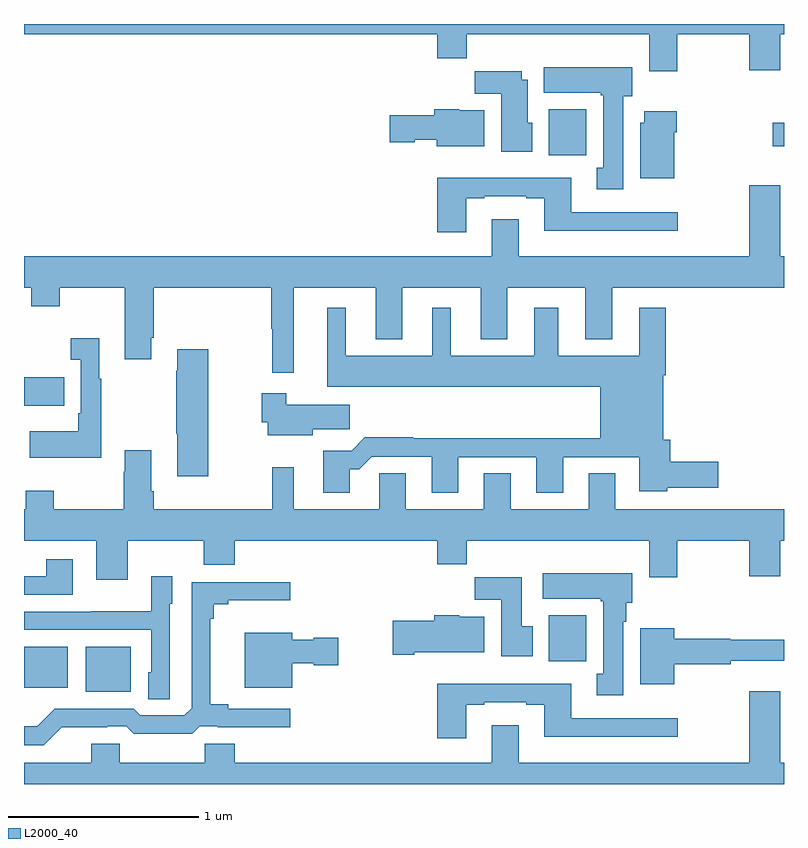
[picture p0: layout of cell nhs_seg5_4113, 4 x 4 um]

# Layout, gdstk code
import gdstk
lib = gdstk.Library(unit=1e-6, precision=1e-09)
def R(c, l, rs):  # rectangles x0, y0, x1, y1
    for r in rs: c.add(gdstk.rectangle(r[:2], r[2:], *l))
def P(c, l, *ps):  # polygons
    for p in ps: c.add(gdstk.Polygon(p, *l))
L2000_40 = (2000, 40)

nhs_seg5_4113 = lib.new_cell('nhs_seg5_4113')
R(nhs_seg5_4113, L2000_40, [(353.324,869.285,353.563,869.521), (353,869.306,353.23,869.521), (355.763,869.444,355.96,869.686), (353,870.791,353.213,870.939), (355.763,872.108,355.96,872.35), (356.94,872.156,357,872.278)])
P(nhs_seg5_4113, L2000_40, [(356.439,872.744),(356.816,872.744),(356.816,872.556),(356.98,872.556),(356.98,872.744),(357,872.744),(357,872.799),(353,872.799),(353,872.744),(355.175,872.744),(355.175,872.62),(355.331,872.62),(355.331,872.744),(356.291,872.744),(356.291,872.55),(356.439,872.55)],
  [(356.155,872.418),(356.2,872.418),(356.2,872.572),(355.736,872.572),(355.736,872.438),(356.035,872.438),(356.035,872.425),(356.048,872.425),(356.048,872.042),(356.015,872.042),(356.015,871.929),(356.155,871.929)],
  [(355.675,872.28),(355.651,872.28),(355.651,872.506),(355.621,872.506),(355.621,872.551),(355.372,872.551),(355.372,872.432),(355.511,872.432),(355.511,872.126),(355.675,872.126)],
  [(355.423,872.344),(355.29,872.344),(355.29,872.35),(355.16,872.35),(355.16,872.319),(354.924,872.319),(354.924,872.177),(355.056,872.177),(355.056,872.189),(355.172,872.189),(355.172,872.156),(355.423,872.156)],
  [(356.422,872.228),(356.435,872.228),(356.435,872.341),(356.264,872.341),(356.264,872.28),(356.243,872.28),(356.243,871.988),(356.422,871.988)],
  [(355.327,871.881),(355.423,871.881),(355.423,871.893),(355.643,871.893),(355.643,871.881),(355.739,871.881),(355.739,871.712),(356.44,871.712),(356.44,871.809),(355.879,871.809),(355.879,871.99),(355.175,871.99),(355.175,871.704),(355.327,871.704)],
  [(354.421,871.412),(354.851,871.412),(354.851,871.139),(354.991,871.139),(354.991,871.412),(355.403,871.412),(355.403,871.139),(355.543,871.139),(355.543,871.412),(355.955,871.412),(355.955,871.139),(356.095,871.139),(356.095,871.412),(357,871.412),(357,871.576),(356.98,871.576),(356.98,871.951),(356.816,871.951),(356.816,871.576),(355.603,871.576),(355.603,871.771),(355.463,871.771),(355.463,871.576),(353,871.576),(353,871.412),(353.039,871.412),(353.039,871.313),(353.187,871.313),(353.187,871.412),(353.531,871.412),(353.531,871.035),(353.671,871.035),(353.671,871.147),(353.684,871.147),(353.684,871.412),(354.3,871.412),(354.3,871.196),(354.307,871.196),(354.307,870.963),(354.421,870.963)],
  [(354.715,870.455),(354.764,870.455),(354.831,870.522),(355.145,870.522),(355.145,870.333),(355.285,870.333),(355.285,870.519),(355.697,870.519),(355.697,870.333),(355.837,870.333),(355.837,870.519),(356.237,870.519),(356.237,870.341),(356.385,870.341),(356.385,870.359),(356.653,870.359),(356.653,870.494),(356.402,870.494),(356.402,870.612),(356.365,870.612),(356.365,870.95),(356.378,870.95),(356.378,871.306),(356.237,871.306),(356.237,871.054),(355.813,871.054),(355.813,871.306),(355.685,871.306),(355.685,871.054),(355.246,871.054),(355.246,871.306),(355.148,871.306),(355.148,871.054),(354.694,871.054),(354.694,871.306),(354.596,871.306),(354.596,870.89),(356.033,870.89),(356.033,870.62),(355.049,870.62),(355.049,870.623),(354.794,870.623),(354.724,870.553),(354.575,870.553),(354.575,870.333),(354.715,870.333)],
  [(353.407,870.931),(353.395,870.931),(353.395,871.144),(353.247,871.144),(353.247,871.031),(353.298,871.031),(353.298,870.751),(353.286,870.751),(353.286,870.655),(353.029,870.655),(353.029,870.515),(353.407,870.515)],
  [(353.97,871.087),(353.807,871.087),(353.807,870.974),(353.8,870.974),(353.8,870.643),(353.807,870.643),(353.807,870.42),(353.97,870.42)],
  [(354.52,870.667),(354.715,870.667),(354.715,870.796),(354.38,870.796),(354.38,870.856),(354.252,870.856),(354.252,870.702),(354.284,870.702),(354.284,870.635),(354.52,870.635)],
  [(353.545,870.08),(353.945,870.08),(353.945,869.952),(354.109,869.952),(354.109,870.08),(355.175,870.08),(355.175,869.956),(355.331,869.956),(355.331,870.08),(356.291,870.08),(356.291,869.886),(356.439,869.886),(356.439,870.08),(356.816,870.08),(356.816,869.892),(356.98,869.892),(356.98,870.08),(357,870.08),(357,870.244),(356.113,870.244),(356.113,870.434),(355.973,870.434),(355.973,870.244),(355.561,870.244),(355.561,870.434),(355.421,870.434),(355.421,870.244),(355.009,870.244),(355.009,870.434),(354.87,870.434),(354.87,870.244),(354.421,870.244),(354.421,870.466),(354.307,870.466),(354.307,870.244),(353.684,870.244),(353.684,870.34),(353.671,870.34),(353.671,870.556),(353.531,870.556),(353.531,870.443),(353.524,870.443),(353.524,870.244),(353.157,870.244),(353.157,870.343),(353.01,870.343),(353.01,870.244),(353,870.244),(353,870.08),(353.381,870.08),(353.381,869.874),(353.545,869.874)],
  [(353.257,869.983),(353.117,869.983),(353.117,869.892),(353,869.892),(353,869.796),(353.257,869.796)],
  [(356.155,869.654),(356.17,869.654),(356.17,869.754),(356.2,869.754),(356.2,869.908),(355.731,869.908),(355.731,869.774),(356.035,869.774),(356.035,869.761),(356.048,869.761),(356.048,869.378),(356.015,869.378),(356.015,869.265),(356.155,869.265)],
  [(353.766,869.748),(353.779,869.748),(353.779,869.893),(353.67,869.893),(353.67,869.707),(353.353,869.707),(353.353,869.706),(353,869.706),(353,869.61),(353.67,869.61),(353.67,869.388),(353.654,869.388),(353.654,869.245),(353.766,869.245)],
  [(355.678,869.628),(355.621,869.628),(355.621,869.887),(355.372,869.887),(355.372,869.768),(355.511,869.768),(355.511,869.472),(355.678,869.472)],
  [(353.198,869.099),(353.438,869.099),(353.438,869.103),(353.538,869.103),(353.578,869.064),(353.885,869.064),(353.925,869.103),(354.019,869.103),(354.019,869.099),(354.4,869.099),(354.4,869.196),(354.076,869.196),(354.076,869.219),(353.981,869.219),(353.981,869.669),(353.999,869.669),(353.999,869.746),(354.076,869.746),(354.076,869.765),(354.4,869.765),(354.4,869.862),(353.883,869.862),(353.883,869.199),(353.844,869.16),(353.613,869.16),(353.577,869.196),(353.163,869.196),(353.069,869.102),(353,869.102),(353,869.004),(353.103,869.004)],
  [(355.054,869.492),(355.423,869.492),(355.423,869.68),(355.29,869.68),(355.29,869.686),(355.16,869.686),(355.16,869.658),(354.942,869.658),(354.942,869.48),(355.054,869.48)],
  [(356.422,869.428),(356.72,869.428),(356.72,869.447),(357,869.447),(357,869.557),(356.718,869.557),(356.718,869.564),(356.422,869.564),(356.422,869.62),(356.243,869.62),(356.243,869.324),(356.422,869.324)],
  [(354.412,869.435),(354.525,869.435),(354.525,869.423),(354.655,869.423),(354.655,869.57),(354.525,869.57),(354.525,869.557),(354.412,869.557),(354.412,869.596),(354.161,869.596),(354.161,869.306),(354.412,869.306)],
  [(355.327,869.217),(355.423,869.217),(355.423,869.229),(355.643,869.229),(355.643,869.217),(355.739,869.217),(355.739,869.048),(356.44,869.048),(356.44,869.145),(355.879,869.145),(355.879,869.326),(355.175,869.326),(355.175,869.04),(355.327,869.04)],
  [(354.11,869.01),(353.95,869.01),(353.95,868.912),(353.505,868.912),(353.505,869.01),(353.354,869.01),(353.354,868.912),(353,868.912),(353,868.799),(357,868.799),(357,868.912),(356.98,868.912),(356.98,869.287),(356.816,869.287),(356.816,868.912),(355.603,868.912),(355.603,869.107),(355.463,869.107),(355.463,868.912),(354.11,868.912)])

lib.write_gds('nhs_seg5_4113.gds')
